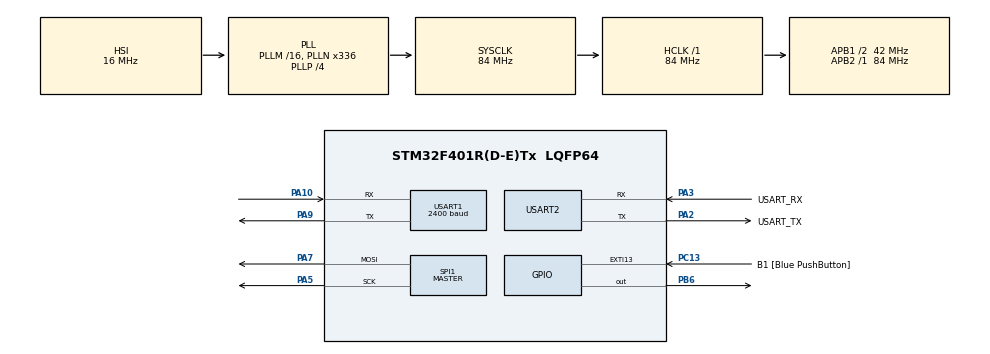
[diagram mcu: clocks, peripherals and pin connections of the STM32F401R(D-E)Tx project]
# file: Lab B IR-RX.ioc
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Dma.Request0=SPI1_TX
Dma.SPI1_TX.0.Direction=DMA_MEMORY_TO_PERIPH
Dma.SPI1_TX.0.FIFOMode=DMA_FIFOMODE_DISABLE
Dma.SPI1_TX.0.Instance=DMA2_Stream3
Dma.SPI1_TX.0.MemDataAlignment=DMA_MDATAALIGN_BYTE
Dma.SPI1_TX.0.MemInc=DMA_MINC_ENABLE
Dma.SPI1_TX.0.Mode=DMA_NORMAL
Dma.SPI1_TX.0.PeriphDataAlignment=DMA_PDATAALIGN_BYTE
Dma.SPI1_TX.0.PeriphInc=DMA_PINC_DISABLE
Dma.SPI1_TX.0.Priority=DMA_PRIORITY_LOW
Mcu.Family=STM32F4
Mcu.Name=STM32F401R(D-E)Tx
Mcu.Package=LQFP64
NVIC.DMA2_Stream3_IRQn=true\:0\:0\:false\:false\:true\:false\:true\:true
NVIC.PriorityGroup=NVIC_PRIORITYGROUP_0
NVIC.SPI1_IRQn=true\:0\:0\:false\:false\:true\:true\:true\:true
NVIC.TIM1_TRG_COM_TIM11_IRQn=true\:0\:0\:false\:false\:true\:true\:true\:true
NVIC.TIM1_UP_TIM10_IRQn=true\:0\:0\:false\:false\:true\:true\:true\:true
NVIC.USART1_IRQn=true\:0\:0\:false\:false\:true\:true\:true\:true
NVIC.USART2_IRQn=true\:0\:0\:false\:false\:true\:true\:true\:true
PA10.Mode=Asynchronous
PA10.Signal=USART1_RX
PA13.GPIO_Label=TMS
PA13.Mode=Serial_Wire
PA13.Signal=SYS_JTMS-SWDIO
PA14.GPIO_Label=TCK
PA14.Mode=Serial_Wire
PA14.Signal=SYS_JTCK-SWCLK
PA2.GPIO_Label=USART_TX
PA2.GPIO_Mode=GPIO_MODE_AF_PP
PA2.GPIO_PuPd=GPIO_NOPULL
PA2.GPIO_Speed=GPIO_SPEED_FREQ_LOW
PA2.Mode=Asynchronous
PA2.Signal=USART2_TX
PA3.GPIO_Label=USART_RX
PA3.GPIO_Mode=GPIO_MODE_AF_PP
PA3.GPIO_PuPd=GPIO_NOPULL
PA3.GPIO_Speed=GPIO_SPEED_FREQ_LOW
PA3.Mode=Asynchronous
PA3.Signal=USART2_RX
PA5.Mode=TX_Only_Simplex_Unidirect_Master
PA5.Signal=SPI1_SCK
PA7.Mode=TX_Only_Simplex_Unidirect_Master
PA7.Signal=SPI1_MOSI
PA9.Mode=Asynchronous
PA9.Signal=USART1_TX
PB3.GPIO_Label=SWO
PB3.Signal=SYS_JTDO-SWO
PB6.Signal=GPIO_Output
PC13-ANTI_TAMP.GPIO_Label=B1 [Blue PushButton]
PC13-ANTI_TAMP.GPIO_ModeDefaultEXTI=GPIO_MODE_IT_FALLING
PC13-ANTI_TAMP.GPIO_PuPd=GPIO_NOPULL
PC13-ANTI_TAMP.Signal=GPXTI13
PC14-OSC32_IN.Mode=LSE-External-Oscillator
PC14-OSC32_IN.Signal=RCC_OSC32_IN
PC15-OSC32_OUT.Mode=LSE-External-Oscillator
PC15-OSC32_OUT.Signal=RCC_OSC32_OUT
PH0\ -\ OSC_IN.Mode=HSE-External-Clock-Source
PH0\ -\ OSC_IN.Signal=RCC_OSC_IN
PH1\ -\ OSC_OUT.Mode=HSE-External-Clock-Source
PH1\ -\ OSC_OUT.Signal=RCC_OSC_OUT
ProjectManager.HeapSize=0x200
ProjectManager.StackSize=0x400
ProjectManager.TargetToolchain=STM32CubeIDE
RCC.48MHZClocksFreq_Value=48000000
RCC.AHBFreq_Value=84000000
RCC.APB1CLKDivider=RCC_HCLK_DIV2
RCC.APB1Freq_Value=42000000
RCC.APB1TimFreq_Value=84000000
RCC.APB2Freq_Value=84000000
RCC.APB2TimFreq_Value=84000000
RCC.CortexFreq_Value=84000000
RCC.HCLKFreq_Value=84000000
RCC.HSE_VALUE=8000000
RCC.HSI_VALUE=16000000
RCC.PLLN=336
RCC.PLLP=RCC_PLLP_DIV4
RCC.PLLQ=7
RCC.SYSCLKFreq_VALUE=84000000
RCC.SYSCLKSource=RCC_SYSCLKSOURCE_PLLCLK
RCC.VCOOutputFreq_Value=336000000
SPI1.BaudRatePrescaler=SPI_BAUDRATEPRESCALER_4
SPI1.Direction=SPI_DIRECTION_2LINES
SPI1.Mode=SPI_MODE_MASTER
SPI1.VirtualType=VM_MASTER
TIM10.Period=40
TIM10.Prescaler=8400-1
TIM11.Period=5000
TIM11.Prescaler=8400-1
USART1.BaudRate=2400
USART1.Mode=MODE_RX
USART1.Parity=PARITY_EVEN
USART1.VirtualMode=VM_ASYNC
USART2.VirtualMode=VM_ASYNC
VP_TIM10_VS_ClockSourceINT.Mode=Enable_Timer
VP_TIM11_VS_ClockSourceINT.Mode=Enable_Timer
board=NUCLEO-F401RE

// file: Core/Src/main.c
/* USER CODE BEGIN Header */
/**
  ******************************************************************************
  * @file           : main.c
  * @brief          : Main program body
  ******************************************************************************
  * @attention
  *
  * Copyright (c) 2023 STMicroelectronics.
  * All rights reserved.
  *
  * This software is licensed under terms that can be found in the LICENSE file
  * in the root directory of this software component.
  * If no LICENSE file comes with this software, it is provided AS-IS.
  *
  ******************************************************************************
  */
/* USER CODE END Header */
#include "main.h"

/* USER CODE BEGIN Includes */
#include <stdio.h>
/* USER CODE END Includes */

/* USER CODE BEGIN PD */
#define QUEUE_SIZE 100
#define N_CHARS 17 //17 because we added X to the end when we receive something else than the expected chars
const uint8_t led_mat[N_CHARS][5][2] = {
		//A
		{{31, 16},
		{36, 8},
		{68, 4},
		{36, 2},
		{31, 1}},
		//B
		{{127, 16},
		{73, 8},
		{73, 4},
		{73, 2},
		{54, 1}},
		//C
		{{62, 16},
		{65, 8},
		{65, 4},
		{65, 2},
		{34, 1}},
		//D
		{{127, 16},
		{65, 8},
		{65, 4},
		{65, 2},
		{62, 1}},
		//E
		{{127, 16},
		{73, 8},
		{73, 4},
		{73, 2},
		{73, 1}},
		//F
		{{127, 16},
		{72, 8},
		{72, 4},
		{72, 2},
		{72, 1}},
		//0
		{{62, 16},
		{113, 8},
		{73, 4},
		{71, 2},
		{62, 1}},
		//1
		{{16, 16},
		{33, 8},
		{127, 4},
		{1, 2},
		{0, 1}},
		//2
		{{33, 16},
		{67, 8},
		{69, 4},
		{73, 2},
		{49, 1}},
		//3
		{{34, 16},
		{65, 8},
		{73, 4},
		{73, 2},
		{54, 1}},
		//4
		{{120, 16},
		{8, 8},
		{8, 4},
		{8, 2},
		{127, 1}},
		//5
		{{114, 16},
		{81, 8},
		{81, 4},
		{81, 2},
		{78, 1}},
		//6
		{{62, 16},
		{73, 8},
		{73, 4},
		{73, 2},
		{38, 1}},
		//7
		{{64, 16},
		{64, 8},
		{79, 4},
		{80, 2},
		{96, 1}},
		//8
		{{54, 16},
		{73, 8},
		{73, 4},
		{73, 2},
		{54, 1}},
		//9
		{{50, 16},
		{73, 8},
		{73, 4},
		{73, 2},
		{62, 1}},
		//X
		{{34, 16},
		{20, 8},
		{8, 4},
		{20, 2},
		{34, 1}}
};

/* USER CODE END PD */

SPI_HandleTypeDef hspi1;
DMA_HandleTypeDef hdma_spi1_tx;

TIM_HandleTypeDef htim10;
TIM_HandleTypeDef htim11;

UART_HandleTypeDef huart1;
UART_HandleTypeDef huart2;

/* USER CODE BEGIN PV */
struct Queue {
	uint8_t items[QUEUE_SIZE];
	int front;
	int rear;
	int size;
} rx_queue;

uint8_t rx_data = 0;
int rx_letter_idx = 16;
/* USER CODE END PV */

void SystemClock_Config(void);
static void MX_GPIO_Init(void);
static void MX_DMA_Init(void);
static void MX_USART2_UART_Init(void);
static void MX_USART1_UART_Init(void);
static void MX_TIM10_Init(void);
static void MX_SPI1_Init(void);
static void MX_TIM11_Init(void);
/* USER CODE BEGIN PFP */
void init_queue(struct Queue* q);
int isFull(struct Queue *queue);
int isEmpty(struct Queue *queue);
int enqueue(struct Queue *queue, uint8_t item);
uint8_t dequeue(struct Queue *queue);
uint8_t* front(struct Queue *queue);
uint8_t char_to_ind(uint8_t c);

/* USER CODE END PFP */

/* USER CODE BEGIN 0 */

//management of IR reception
void HAL_UART_RxCpltCallback(UART_HandleTypeDef *huart){
	if(isEmpty(&rx_queue)) HAL_TIM_Base_Start_IT(&htim11); //start the timer to dequeue received letters

	enqueue(&rx_queue, rx_data); //add to queue received data

	HAL_UART_Receive_IT(&huart1, &rx_data, 1); //start new reception
}

//management of led matrix
void HAL_TIM_PeriodElapsedCallback(TIM_HandleTypeDef *htim) {
	if(htim == &htim10){
		static int idx = 0;
		HAL_SPI_Transmit_DMA(&hspi1, led_mat[rx_letter_idx][idx], 2);
		idx = (idx + 1) % 5;
	}else if(htim == &htim11){//change letters each half second
		uint8_t to_display = dequeue(&rx_queue);
		rx_letter_idx = char_to_ind(to_display);

		if(isEmpty(&rx_queue)) //if the queue is empty we do not have to do this nomore
			HAL_TIM_Base_Stop_IT(&htim11);
	}
}
void HAL_SPI_TxCpltCallback (SPI_HandleTypeDef * hspi){
	HAL_GPIO_TogglePin(GPIOB, GPIO_PIN_6);
	HAL_GPIO_TogglePin(GPIOB, GPIO_PIN_6);
}
/* USER CODE END 0 */

int main(void)
{
  /* USER CODE BEGIN 1 */
  init_queue(&rx_queue);
  /* USER CODE END 1 */

  /* MCU Configuration--------------------------------------------------------*/

  /* Reset of all peripherals, Initializes the Flash interface and the Systick. */
  HAL_Init();

  /* Configure the system clock */
  SystemClock_Config();

  /* Initialize all configured peripherals */
  MX_GPIO_Init();
  MX_DMA_Init();
  MX_USART2_UART_Init();
  MX_USART1_UART_Init();
  MX_TIM10_Init();
  MX_SPI1_Init();
  MX_TIM11_Init();
  /* USER CODE BEGIN 2 */
  HAL_UART_Receive_IT(&huart1, &rx_data, 1); //to change in huart1
  HAL_TIM_Base_Start_IT(&htim10);

  /* USER CODE END 2 */

  /* Infinite loop */
  while (1)
  {

  }
}

void SystemClock_Config(void)
{
  RCC_OscInitTypeDef RCC_OscInitStruct = {0};
  RCC_ClkInitTypeDef RCC_ClkInitStruct = {0};

  /** Configure the main internal regulator output voltage
  */
  __HAL_RCC_PWR_CLK_ENABLE();
  __HAL_PWR_VOLTAGESCALING_CONFIG(PWR_REGULATOR_VOLTAGE_SCALE2);

  /** Initializes the RCC Oscillators according to the specified parameters
  * in the RCC_OscInitTypeDef structure.
  */
  RCC_OscInitStruct.OscillatorType = RCC_OSCILLATORTYPE_HSI;
  RCC_OscInitStruct.HSIState = RCC_HSI_ON;
  RCC_OscInitStruct.HSICalibrationValue = RCC_HSICALIBRATION_DEFAULT;
  RCC_OscInitStruct.PLL.PLLState = RCC_PLL_ON;
  RCC_OscInitStruct.PLL.PLLSource = RCC_PLLSOURCE_HSI;
  RCC_OscInitStruct.PLL.PLLM = 16;
  RCC_OscInitStruct.PLL.PLLN = 336;
  RCC_OscInitStruct.PLL.PLLP = RCC_PLLP_DIV4;
  RCC_OscInitStruct.PLL.PLLQ = 7;
  if (HAL_RCC_OscConfig(&RCC_OscInitStruct) != HAL_OK)
  {
    Error_Handler();
  }

  /** Initializes the CPU, AHB and APB buses clocks
  */
  RCC_ClkInitStruct.ClockType = RCC_CLOCKTYPE_HCLK|RCC_CLOCKTYPE_SYSCLK
                              |RCC_CLOCKTYPE_PCLK1|RCC_CLOCKTYPE_PCLK2;
  RCC_ClkInitStruct.SYSCLKSource = RCC_SYSCLKSOURCE_PLLCLK;
  RCC_ClkInitStruct.AHBCLKDivider = RCC_SYSCLK_DIV1;
  RCC_ClkInitStruct.APB1CLKDivider = RCC_HCLK_DIV2;
  RCC_ClkInitStruct.APB2CLKDivider = RCC_HCLK_DIV1;

  if (HAL_RCC_ClockConfig(&RCC_ClkInitStruct, FLASH_LATENCY_2) != HAL_OK)
  {
    Error_Handler();
  }
}

static void MX_SPI1_Init(void)
{

  /* SPI1 parameter configuration*/
  hspi1.Instance = SPI1;
  hspi1.Init.Mode = SPI_MODE_MASTER;
  hspi1.Init.Direction = SPI_DIRECTION_2LINES;
  hspi1.Init.DataSize = SPI_DATASIZE_8BIT;
  hspi1.Init.CLKPolarity = SPI_POLARITY_LOW;
  hspi1.Init.CLKPhase = SPI_PHASE_1EDGE;
  hspi1.Init.NSS = SPI_NSS_SOFT;
  hspi1.Init.BaudRatePrescaler = SPI_BAUDRATEPRESCALER_4;
  hspi1.Init.FirstBit = SPI_FIRSTBIT_MSB;
  hspi1.Init.TIMode = SPI_TIMODE_DISABLE;
  hspi1.Init.CRCCalculation = SPI_CRCCALCULATION_DISABLE;
  hspi1.Init.CRCPolynomial = 10;
  if (HAL_SPI_Init(&hspi1) != HAL_OK)
  {
    Error_Handler();
  }

}

static void MX_TIM10_Init(void)
{

  htim10.Instance = TIM10;
  htim10.Init.Prescaler = 8400-1;
  htim10.Init.CounterMode = TIM_COUNTERMODE_UP;
  htim10.Init.Period = 40;
  htim10.Init.ClockDivision = TIM_CLOCKDIVISION_DIV1;
  htim10.Init.AutoReloadPreload = TIM_AUTORELOAD_PRELOAD_DISABLE;
  if (HAL_TIM_Base_Init(&htim10) != HAL_OK)
  {
    Error_Handler();
  }

}

static void MX_TIM11_Init(void)
{

  htim11.Instance = TIM11;
  htim11.Init.Prescaler = 8400-1;
  htim11.Init.CounterMode = TIM_COUNTERMODE_UP;
  htim11.Init.Period = 5000;
  htim11.Init.ClockDivision = TIM_CLOCKDIVISION_DIV1;
  htim11.Init.AutoReloadPreload = TIM_AUTORELOAD_PRELOAD_DISABLE;
  if (HAL_TIM_Base_Init(&htim11) != HAL_OK)
  {
    Error_Handler();
  }

}

static void MX_USART1_UART_Init(void)
{

  huart1.Instance = USART1;
  huart1.Init.BaudRate = 2400;
  huart1.Init.WordLength = UART_WORDLENGTH_8B;
  huart1.Init.StopBits = UART_STOPBITS_1;
  huart1.Init.Parity = UART_PARITY_EVEN;
  huart1.Init.Mode = UART_MODE_RX;
  huart1.Init.HwFlowCtl = UART_HWCONTROL_NONE;
  huart1.Init.OverSampling = UART_OVERSAMPLING_16;
  if (HAL_UART_Init(&huart1) != HAL_OK)
  {
    Error_Handler();
  }

}

static void MX_USART2_UART_Init(void)
{

  huart2.Instance = USART2;
  huart2.Init.BaudRate = 115200;
  huart2.Init.WordLength = UART_WORDLENGTH_8B;
  huart2.Init.StopBits = UART_STOPBITS_1;
  huart2.Init.Parity = UART_PARITY_NONE;
  huart2.Init.Mode = UART_MODE_TX_RX;
  huart2.Init.HwFlowCtl = UART_HWCONTROL_NONE;
  huart2.Init.OverSampling = UART_OVERSAMPLING_16;
  if (HAL_UART_Init(&huart2) != HAL_OK)
  {
    Error_Handler();
  }

}

static void MX_DMA_Init(void)
{

  /* DMA controller clock enable */
  __HAL_RCC_DMA2_CLK_ENABLE();

  /* DMA interrupt init */
  /* DMA2_Stream3_IRQn interrupt configuration */
  HAL_NVIC_SetPriority(DMA2_Stream3_IRQn, 0, 0);
  HAL_NVIC_EnableIRQ(DMA2_Stream3_IRQn);

}

static void MX_GPIO_Init(void)
{
  GPIO_InitTypeDef GPIO_InitStruct = {0};

  /* GPIO Ports Clock Enable */
  __HAL_RCC_GPIOC_CLK_ENABLE();
  __HAL_RCC_GPIOH_CLK_ENABLE();
  __HAL_RCC_GPIOA_CLK_ENABLE();
  __HAL_RCC_GPIOB_CLK_ENABLE();

  /*Configure GPIO pin Output Level */
  HAL_GPIO_WritePin(GPIOB, GPIO_PIN_6, GPIO_PIN_RESET);

  /*Configure GPIO pin : B1_Pin */
  GPIO_InitStruct.Pin = B1_Pin;
  GPIO_InitStruct.Mode = GPIO_MODE_IT_FALLING;
  GPIO_InitStruct.Pull = GPIO_NOPULL;
  HAL_GPIO_Init(B1_GPIO_Port, &GPIO_InitStruct);

  /*Configure GPIO pin : PB6 */
  GPIO_InitStruct.Pin = GPIO_PIN_6;
  GPIO_InitStruct.Mode = GPIO_MODE_OUTPUT_PP;
  GPIO_InitStruct.Pull = GPIO_NOPULL;
  GPIO_InitStruct.Speed = GPIO_SPEED_FREQ_LOW;
  HAL_GPIO_Init(GPIOB, &GPIO_InitStruct);

}

/* USER CODE BEGIN 4 */
void init_queue(struct Queue* q){
	q->front = 0;
	q->rear = QUEUE_SIZE - 1;
	q->size = 0;
}
int isFull(struct Queue *queue) {
	return queue->size == QUEUE_SIZE;
}

int isEmpty(struct Queue *queue) {
	return (queue->size == 0);
}

int enqueue(struct Queue *queue, uint8_t item) {
	if (isFull(queue))
		return 0;
	queue->rear = (queue->rear + 1) % QUEUE_SIZE;
	queue->items[queue->rear] = item;
	queue->size = queue->size + 1;
	return 1;
}

uint8_t dequeue(struct Queue *queue) {
	if (isEmpty(queue))
		Error_Handler(); //if dequeue with empty queue return error!

	uint8_t item = queue->items[queue->front];
	queue->front = (queue->front + 1) % QUEUE_SIZE;
	queue->size = queue->size - 1;
	return item;
}

uint8_t* front(struct Queue* queue){
    if (isEmpty(queue)) Error_Handler();
    return &(queue->items[queue->front]);
}

uint8_t char_to_ind(uint8_t c){
	if(c >= 'A' && c <='F'){
		return c - 'A';
	}else if(c >= '0' && c <= '9'){
		return c - '0' + 6; //6 because the first 6 mat are letters
	}else{
		return 16;
	}

}
/* USER CODE END 4 */

void Error_Handler(void)
{
  __disable_irq();
  while (1)
  {
  }
}
